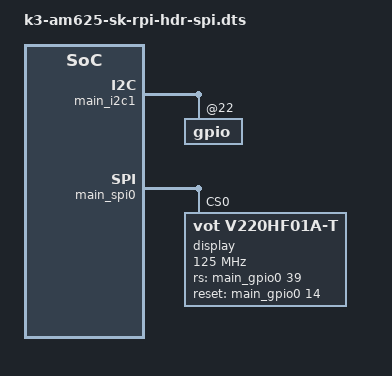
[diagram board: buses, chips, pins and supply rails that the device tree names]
// SPDX-License-Identifier: GPL-2.0
/**
 * DT Overlay for using McSPI on the RPi header on AM625-SK board.
 *
 * Copyright (C) 2022 Texas Instruments Incorporated - https://www.ti.com/
 */

/dts-v1/;
/plugin/;

#include <dt-bindings/pinctrl/k3.h>
#include <dt-bindings/gpio/gpio.h>

&main_pmx0 {
	main_spi0_pins_default: main-spi0-pins-default {
		pinctrl-single,pins = <
			AM62X_IOPAD(0x01bc, PIN_INPUT, 0) /* (A14) SPI0_CLK */
			AM62X_IOPAD(0x01c0, PIN_INPUT, 0) /* (B13) SPI0_D0 */
			AM62X_IOPAD(0x01c4, PIN_INPUT, 0) /* (B14) SPI0_D1 */
			AM62X_IOPAD(0x01b4, PIN_INPUT, 0) /* (A13) SPI0_CS0 */
		>;
	};
	ili9225_pins_default: ili9225-pins-default {
		pinctrl-single,pins = <
			AM62X_IOPAD(0x0038, PIN_INPUT, 7) /* (E24) OSPI0_CSn3.GPIO0_14 */
			AM62X_IOPAD(0x00a0, PIN_INPUT, 7) /* (K25) GPMC0_WPn.GPIO0_39 */
		>;
	};
};

&main_i2c1 {
	gpio@22 {
		en_rpi_3v3 {
			gpio-hog;
			gpios = <5 GPIO_ACTIVE_HIGH>;
			output-high;
			line-name = "EXP_PS_3V3_EN";
		};
	};
};

/*
 * Demonstration of SPI0 using an ilitek ili9225 display connected over
 * SPI0 bus to the AM625 via the RPi headers present on the SK EVM
 */

&main_spi0 {
	status = "okay";
	pinctrl-0 = <&main_spi0_pins_default>;
	pinctrl-names = "default";
	display@0 {
		 compatible = "vot,v220hf01a-t","ilitek,ili9225";
		 spi-max-frequency = <125000000>;
		 pinctrl-0 = <&ili9225_pins_default>;
		 pinctrl-names = "default";
		 rs-gpios = <&main_gpio0 39 GPIO_ACTIVE_HIGH>;
		 reset-gpios = <&main_gpio0 14 GPIO_ACTIVE_HIGH>;
		 reg = <0>;
	 };
};
